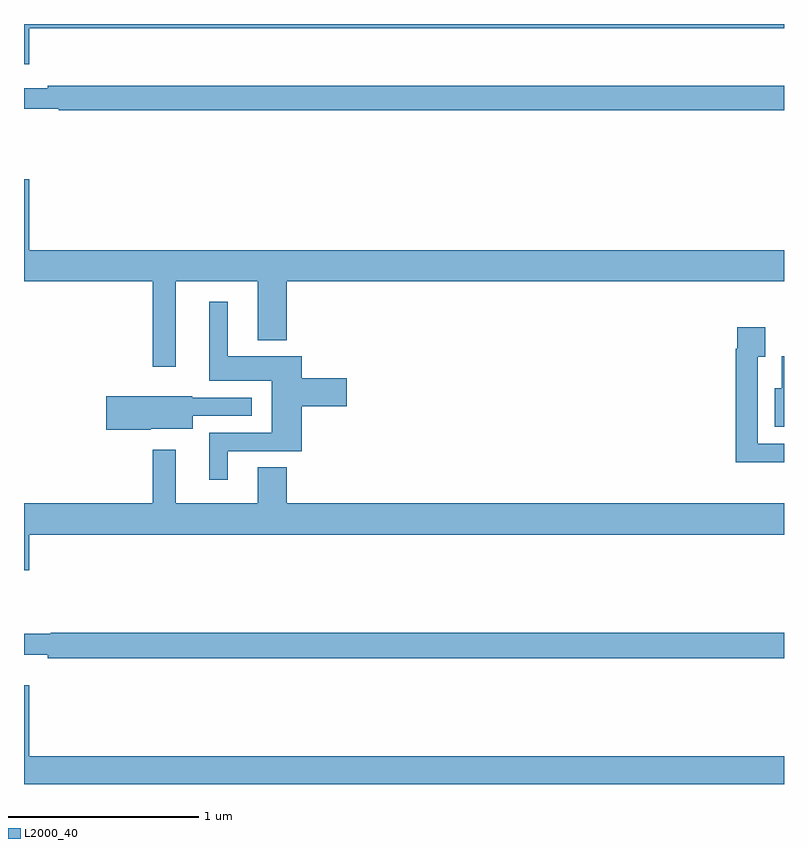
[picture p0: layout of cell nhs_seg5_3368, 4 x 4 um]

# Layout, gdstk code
import gdstk
lib = gdstk.Library(unit=1e-6, precision=1e-09)
def P(c, l, *ps):  # polygons
    for p in ps: c.add(gdstk.Polygon(p, *l))
L2000_40 = (2000, 40)

nhs_seg5_3368 = lib.new_cell('nhs_seg5_3368')
P(nhs_seg5_3368, L2000_40, [(309.028,840.776),(313,840.776),(313,840.799),(309,840.799),(309,840.588),(309.028,840.588)],
  [(313,840.475),(309.124,840.475),(309.124,840.462),(309,840.462),(309,840.354),(309.182,840.354),(309.182,840.346),(313,840.346)],
  [(309.799,839.444),(310.229,839.444),(310.229,839.135),(310.382,839.135),(310.382,839.444),(313,839.444),(313,839.608),(309.028,839.608),(309.028,839.983),(309,839.983),(309,839.444),(309.678,839.444),(309.678,838.995),(309.799,838.995)],
  [(310.072,838.551),(310.463,838.551),(310.463,838.787),(310.699,838.787),(310.699,838.934),(310.463,838.934),(310.463,839.05),(310.072,839.05),(310.072,839.338),(309.974,839.338),(309.974,838.922),(310.304,838.922),(310.304,838.647),(309.974,838.647),(309.974,838.401),(310.072,838.401)],
  [(313,838.59),(312.861,838.59),(312.861,839.047),(312.901,839.047),(312.901,839.203),(312.753,839.203),(312.753,839.09),(312.745,839.09),(312.745,838.493),(313,838.493)],
  [(313,839.05),(312.989,839.05),(312.989,838.882),(312.95,838.882),(312.95,838.679),(313,838.679)],
  [(309.666,838.67),(309.889,838.67),(309.889,838.737),(310.198,838.737),(310.198,838.833),(309.885,838.833),(309.885,838.841),(309.432,838.841),(309.432,838.663),(309.666,838.663)],
  [(309.028,838.112),(313,838.112),(313,838.276),(310.382,838.276),(310.382,838.466),(310.229,838.466),(310.229,838.276),(309.799,838.276),(309.799,838.558),(309.678,838.558),(309.678,838.276),(309,838.276),(309,837.924),(309.028,837.924)],
  [(313,837.596),(309.14,837.596),(309.14,837.589),(309,837.589),(309,837.479),(309.124,837.479),(309.124,837.46),(313,837.46)],
  [(313,836.944),(309.028,836.944),(309.028,837.319),(309,837.319),(309,836.799),(313,836.799)])

lib.write_gds('nhs_seg5_3368.gds')
